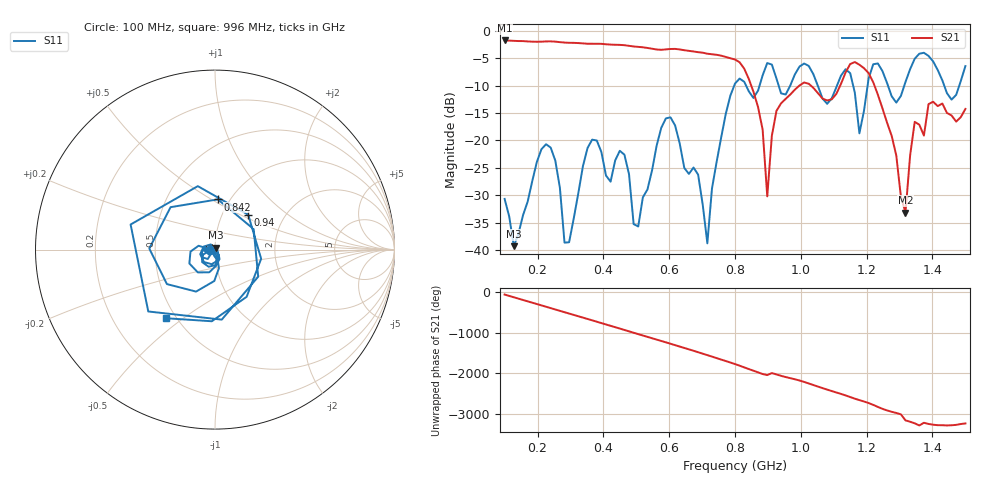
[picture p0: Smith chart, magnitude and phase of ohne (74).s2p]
! NanoVNA-App
! Date: 2025-09-26 09:55:58
! Start: 100MHz Stop: 1,5GHz Points: 101
! S-Parameter data: F S11 S21 S12 S22
# Hz S RI R 50
!  Frequency  S11_Real  S11_Imag  S21_Real  S21_Imag  S12_Real  S12_Imag  S22_Real  S22_Imag
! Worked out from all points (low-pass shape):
!   101 points, 100 MHz to 1.5 GHz, reference 50 ohm
!   highest |S21| = -1.79 dB at 100 MHz (marker M1); lowest = -33.1 dB at 1.318 GHz (marker M2)
!   |S21| within 3 dB of the highest: start of sweep to 772 MHz
!   lowest |S11| = -39.2 dB at 128 MHz (marker M3), VSWR 1.02, Z = 50.3 + j1.06 ohm
!   |S11| at or under -10 dB: start of sweep to 797.7 MHz; 833.5 MHz to 874.7 MHz (41.14 MHz wide, 4.82 % of centre); 1.051 GHz to 1.11 GHz (58.57 MHz wide, 5.42 % of centre) (the widest 3 of 7)
!   S12 and S22 are empty: the file has one direction only
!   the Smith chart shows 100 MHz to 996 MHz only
!   S11 on the Smith chart (normalised r, x): 100 MHz: 0.94, -0.01; 842 MHz: 0.88, +0.53; 940 MHz: 1.32, +0.55; 996 MHz: 0.44, -0.43
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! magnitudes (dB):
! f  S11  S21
! 100 MHz  -30.6  -1.8
! 128 MHz  -39.2  -1.9
! 212 MHz  -21.6  -2.0
! 282 MHz  -38.6  -2.2
! 338 MHz  -24.7  -2.3
! 464 MHz  -22.6  -2.7
! 506 MHz  -35.7  -3.0
! 576 MHz  -17.7  -3.5
! 716 MHz  -38.7  -4.2
! 800 MHz  -9.6  -5.3
! 842 MHz  -11.1  -8.8
! 898 MHz  -5.9  -30.2
! 940 MHz  -11.4  -13.2
! 996 MHz  -6.5  -10.0
! 1.038 GHz  -7.9  -10.4
! 1.15 GHz  -7.7  -6.1
! 1.178 GHz  -18.7  -6.2
! 1.22 GHz  -6.1  -9.4
! 1.276 GHz  -11.9  -19.1
! 1.318 GHz  -9.3  -33.1
! 1.346 GHz  -5.1  -16.6
! 1.5 GHz  -6.5  -14.3
